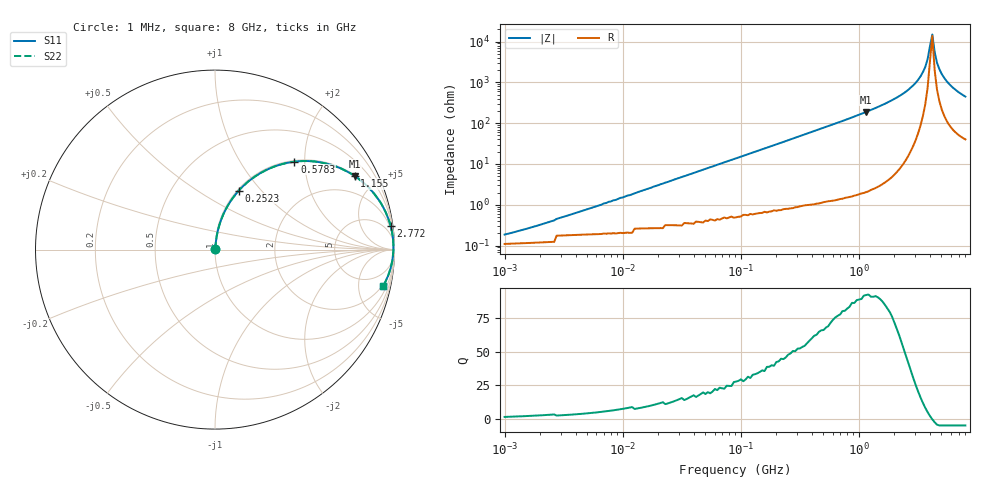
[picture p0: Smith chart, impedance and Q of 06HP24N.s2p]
# MHz S MA R 50
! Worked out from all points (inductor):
!   196 points, 1 MHz to 8 GHz, reference 50 ohm
!   read as one part in series: L = 24 nH near 2.514 MHz
!   highest Q = 92.4 at 1.155 GHz (marker M1), where L = 26 nH
!   self-resonance near 4.007 GHz
!   S11 on the Smith chart (normalised r, x): 1 MHz: 1.00, +0.00; 252.3 MHz: 1.02, +0.76; 578.3 MHz: 1.02, +1.78; 1.155 GHz: 1.04, +3.77; 2.772 GHz: 1, +15; 8 GHz: 1.80, -8.92
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1  0.001925 51.4  0.999 -0.1  0.999 -0.1  0.001925 51.4
4.576  0.007101 75.6  0.998 -0.4  0.998 -0.4  0.007101 75.6
20.943  0.032 83.0  0.997 -1.8  0.997 -1.8  0.032 83.0
91.528  0.136 80.0  0.986 -7.8  0.986 -7.8  0.136 80.0
159.127  0.232 75.0  0.966 -13.4  0.966 -13.4  0.232 75.0
252.291  0.354 68.0  0.928 -20.7  0.928 -20.7  0.354 68.0
418.867  0.534 56.8  0.837 -32.3  0.837 -32.3  0.534 56.8
578.345  0.66 47.9  0.742 -41.3  0.742 -41.3  0.66 47.9
798.542  0.776 38.4  0.621 -50.9  0.621 -50.9  0.776 38.4
1154.581  0.88 27.8  0.466 -61.6  0.466 -61.6  0.88 27.8
1830.556  0.957 16.2  0.279 -73.1  0.279 -73.1  0.957 16.2
2304.953  0.977 11.2  0.195 -77.8  0.195 -77.8  0.977 11.2
2771.568  0.988 7.6  0.131 -80.8  0.131 -80.8  0.988 7.6
3182.534  0.992 4.9  0.086 -82.3  0.086 -82.3  0.992 4.9
3654.438  0.994 2.4  0.042 -80.7  0.042 -80.7  0.994 2.4
3826.806  0.994 1.5  0.027 -77.1  0.027 -77.1  0.994 1.5
4196.316  0.994 -0.1  0.006664 22.9  0.006664 22.9  0.994 -0.1
4394.242  0.993 -1.0  0.018 68.0  0.018 68.0  0.993 -1.0
4601.504  0.992 -1.8  0.033 75.6  0.033 75.6  0.992 -1.8
5045.817  0.99 -3.5  0.062 78.7  0.062 78.7  0.99 -3.5
6067.292  0.981 -6.9  0.121 77.6  0.121 77.6  0.981 -6.9
8000  0.958 -12.3  0.214 72.6  0.214 72.6  0.958 -12.3
